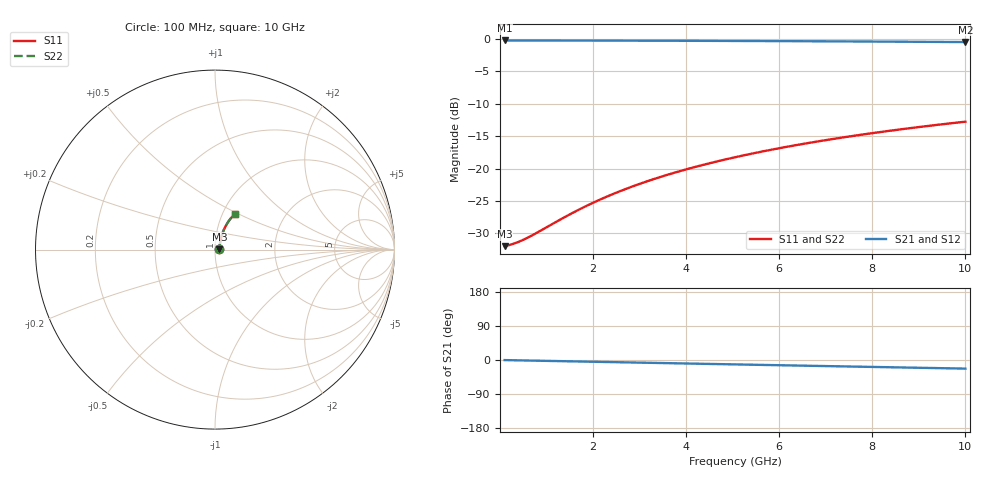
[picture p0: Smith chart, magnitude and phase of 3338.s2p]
# Hz S RI R 50.00
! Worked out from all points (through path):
!   100 points, 100 MHz to 10 GHz, reference 50 ohm
!   highest |S21| = -0.22 dB at 100 MHz (marker M1); lowest = -0.5 dB at 10 GHz (marker M2)
!   group delay of S21, straight-line fit = 6.32 ps
!   lowest |S11| = -32.0 dB at 100 MHz (marker M3), VSWR 1.05, Z = 52.6 + j0.241 ohm
!   |S11| at or under -10 dB: start of sweep to end of sweep
!   |S22| runs from -32.0 to -12.8 dB; largest |S21 - S12| = 0
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1e8  0.025 0.00229  0.975 -0.00394  0.975 -0.00394  0.025 0.00229
2e8  0.0252 0.00458  0.9748 -0.00787  0.9748 -0.00787  0.0252 0.00458
3e8  0.0254 0.00687  0.9746 -0.0118  0.9746 -0.0118  0.0254 0.00687
4e8  0.0256 0.00916  0.9744 -0.0157  0.9744 -0.0157  0.0256 0.00916
6e8  0.0259 0.0137  0.974 -0.0236  0.974 -0.0236  0.0259 0.0137
8e8  0.0263 0.0183  0.9736 -0.0314  0.9736 -0.0314  0.0263 0.0183
1.4e9  0.0278 0.0319  0.9719 -0.055  0.9719 -0.055  0.0278 0.0319
1.8e9  0.0291 0.041  0.9704 -0.0706  0.9704 -0.0706  0.0291 0.041
2.2e9  0.0307 0.05  0.9686 -0.0861  0.9686 -0.0861  0.0307 0.05
2.6e9  0.0325 0.0589  0.9665 -0.1016  0.9665 -0.1016  0.0325 0.0589
3e9  0.0347 0.0677  0.964 -0.1171  0.964 -0.1171  0.0347 0.0677
3.4e9  0.0371 0.0765  0.9613 -0.1324  0.9613 -0.1324  0.0371 0.0765
3.8e9  0.0398 0.0852  0.9582 -0.1477  0.9582 -0.1477  0.0398 0.0852
4.2e9  0.0427 0.0937  0.9548 -0.1628  0.9548 -0.1628  0.0427 0.0937
4.6e9  0.046 0.1022  0.9511 -0.1779  0.9511 -0.1779  0.046 0.1022
5.1e9  0.0504 0.1125  0.946 -0.1965  0.946 -0.1965  0.0504 0.1125
5.9e9  0.0582 0.1287  0.9369 -0.2259  0.9369 -0.2259  0.0582 0.1287
6.7e9  0.067 0.1443  0.9267 -0.2546  0.9267 -0.2546  0.067 0.1443
7.5e9  0.0767 0.1592  0.9154 -0.2827  0.9154 -0.2827  0.0767 0.1592
8.4e9  0.0887 0.175  0.9015 -0.3135  0.9015 -0.3135  0.0887 0.175
9.2e9  0.1001 0.1883  0.888 -0.34  0.888 -0.34  0.1001 0.1883
1e10  0.1123 0.2008  0.8737 -0.3657  0.8737 -0.3657  0.1123 0.2008
